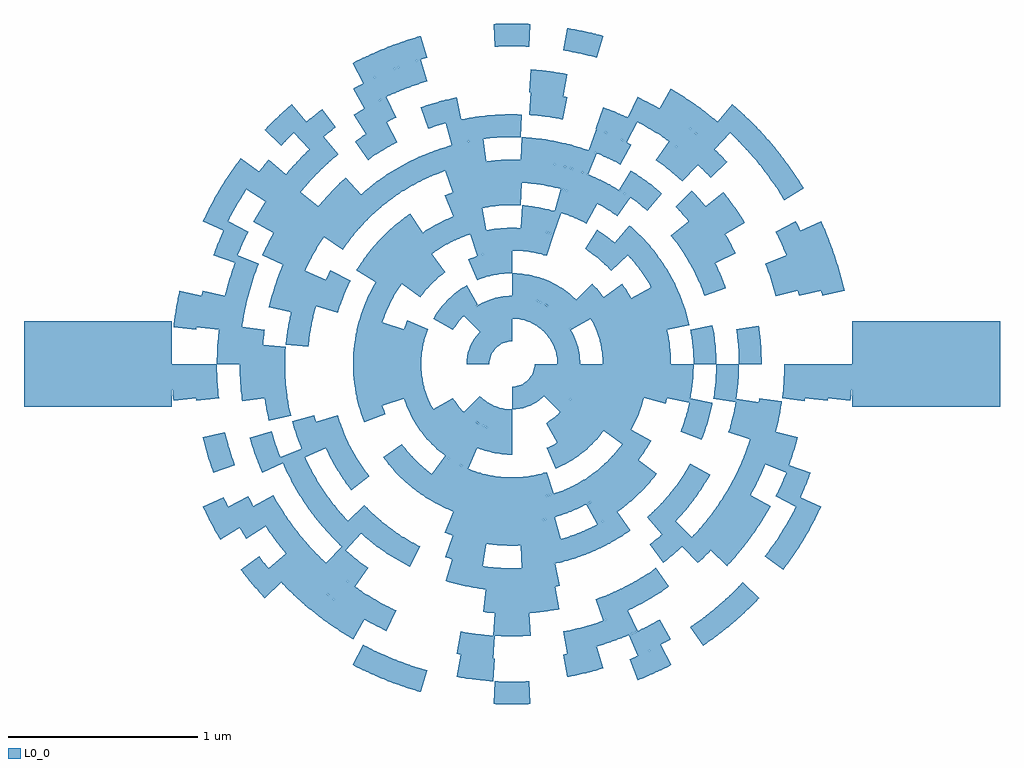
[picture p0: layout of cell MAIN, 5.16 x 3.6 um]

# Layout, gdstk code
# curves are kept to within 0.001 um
import gdstk
lib = gdstk.Library(unit=1e-6, precision=1e-09)
def R(c, l, rs):  # rectangles x0, y0, x1, y1
    for r in rs: c.add(gdstk.rectangle(r[:2], r[2:], *l))
def P(c, l, *ps):  # polygons
    for p in ps: c.add(gdstk.Polygon(p, *l))
L0_0 = (0, 0)

main = lib.new_cell('MAIN')
R(main, L0_0, [(-2.58,-0.225,-1.8,0.225), (1.8,-0.225,2.58,0.225)])
P(main, L0_0, [(0,0.24),(-0.04,0.237),(-0.078,0.227),(-0.114,0.211),(-0.131,0.201),(-0.163,0.177),(-0.177,0.163),(-0.201,0.131),(-0.22,0.096),(-0.233,0.059),(-0.237,0.04),(-0.24,0),(-0.12,0),(-0.118,0.02),(-0.11,0.048),(-0.106,0.057),(-0.095,0.074),(-0.074,0.095),(-0.057,0.106),(-0.029,0.116),(-0.01,0.12),(0,0.12)],
  [(0,-0.24),(0.04,-0.237),(0.078,-0.227),(0.114,-0.211),(0.131,-0.201),(0.163,-0.177),(0.177,-0.163),(0.201,-0.131),(0.22,-0.096),(0.233,-0.059),(0.237,-0.04),(0.24,0),(0.12,0),(0.118,-0.02),(0.11,-0.048),(0.106,-0.057),(0.095,-0.074),(0.074,-0.095),(0.057,-0.106),(0.029,-0.116),(0.01,-0.12),(0,-0.12)],
  [(0.36,0),(0.359,0.03),(0.352,0.074),(0.345,0.103),(0.33,0.145),(0.317,0.171),(0.293,0.209),(0.275,0.233),(0.255,0.255),(0.17,0.17),(0.177,0.163),(0.201,0.131),(0.216,0.105),(0.224,0.087),(0.233,0.059),(0.237,0.04),(0.24,0)],
  [(0.255,0.255),(0.233,0.275),(0.209,0.293),(0.171,0.317),(0.145,0.33),(0.103,0.345),(0.074,0.352),(0.03,0.359),(0,0.36),(0,0.24),(0.04,0.237),(0.059,0.233),(0.087,0.224),(0.105,0.216),(0.131,0.201),(0.163,0.177),(0.17,0.17)],
  [(0,0.36),(-0.03,0.359),(-0.074,0.352),(-0.103,0.345),(-0.145,0.33),(-0.171,0.317),(-0.209,0.293),(-0.233,0.275),(-0.255,0.255),(-0.17,0.17),(-0.163,0.177),(-0.131,0.201),(-0.105,0.216),(-0.087,0.224),(-0.059,0.233),(-0.04,0.237),(0,0.24)],
  [(-0.255,-0.255),(-0.233,-0.275),(-0.209,-0.293),(-0.171,-0.317),(-0.145,-0.33),(-0.103,-0.345),(-0.074,-0.352),(-0.03,-0.359),(0,-0.36),(0,-0.24),(-0.04,-0.237),(-0.059,-0.233),(-0.087,-0.224),(-0.105,-0.216),(-0.131,-0.201),(-0.163,-0.177),(-0.17,-0.17)],
  [(0.255,-0.255),(0.275,-0.233),(0.293,-0.209),(0.317,-0.171),(0.33,-0.145),(0.345,-0.103),(0.352,-0.074),(0.359,-0.03),(0.36,0),(0.24,0),(0.237,-0.04),(0.233,-0.059),(0.224,-0.087),(0.216,-0.105),(0.201,-0.131),(0.177,-0.163),(0.17,-0.17)],
  [(0.416,0.24),(0.402,0.263),(0.379,0.295),(0.344,0.335),(0.295,0.379),(0.263,0.402),(0.24,0.416),(0.18,0.312),(0.205,0.296),(0.244,0.265),(0.278,0.229),(0.296,0.205),(0.312,0.18)],
  [(0.24,0.416),(0.193,0.44),(0.168,0.45),(0.131,0.462),(0.092,0.471),(0.053,0.477),(0,0.48),(0,0.36),(0.049,0.357),(0.107,0.344),(0.145,0.33),(0.18,0.312)],
  [(-0.24,0.416),(-0.263,0.402),(-0.295,0.379),(-0.335,0.344),(-0.379,0.295),(-0.402,0.263),(-0.416,0.24),(-0.312,0.18),(-0.296,0.205),(-0.265,0.244),(-0.229,0.278),(-0.205,0.296),(-0.18,0.312)],
  [(-0.416,-0.24),(-0.402,-0.263),(-0.379,-0.295),(-0.344,-0.335),(-0.295,-0.379),(-0.263,-0.402),(-0.24,-0.416),(-0.18,-0.312),(-0.205,-0.296),(-0.244,-0.265),(-0.278,-0.229),(-0.296,-0.205),(-0.312,-0.18)],
  [(-0.24,-0.416),(-0.193,-0.44),(-0.168,-0.45),(-0.131,-0.462),(-0.092,-0.471),(-0.053,-0.477),(0,-0.48),(0,-0.36),(-0.049,-0.357),(-0.107,-0.344),(-0.145,-0.33),(-0.18,-0.312)],
  [(0.24,-0.416),(0.263,-0.402),(0.295,-0.379),(0.335,-0.344),(0.379,-0.295),(0.402,-0.263),(0.416,-0.24),(0.312,-0.18),(0.296,-0.205),(0.265,-0.244),(0.229,-0.278),(0.205,-0.296),(0.18,-0.312)],
  [(0.416,-0.24),(0.44,-0.193),(0.45,-0.168),(0.462,-0.131),(0.471,-0.092),(0.477,-0.053),(0.48,0),(0.36,0),(0.357,-0.049),(0.344,-0.107),(0.33,-0.145),(0.312,-0.18)],
  [(0.6,0),(0.597,0.062),(0.59,0.111),(0.575,0.171),(0.554,0.23),(0.443,0.184),(0.454,0.156),(0.47,0.099),(0.477,0.05),(0.48,0.02),(0.48,0)],
  [(0.554,0.23),(0.528,0.286),(0.509,0.318),(0.481,0.359),(0.458,0.388),(0.424,0.424),(0.339,0.339),(0.373,0.303),(0.402,0.263),(0.427,0.22),(0.443,0.184)],
  [(0,0.6),(-0.062,0.597),(-0.111,0.59),(-0.171,0.575),(-0.23,0.554),(-0.184,0.443),(-0.156,0.454),(-0.099,0.47),(-0.05,0.477),(-0.02,0.48),(0,0.48)],
  [(-0.554,0.23),(-0.575,0.171),(-0.59,0.111),(-0.597,0.062),(-0.6,0),(-0.48,0),(-0.48,0.02),(-0.477,0.05),(-0.47,0.099),(-0.454,0.156),(-0.443,0.184)],
  [(-0.6,0),(-0.597,-0.062),(-0.59,-0.111),(-0.575,-0.171),(-0.554,-0.23),(-0.443,-0.184),(-0.454,-0.156),(-0.47,-0.099),(-0.477,-0.05),(-0.48,-0.02),(-0.48,0)],
  [(-0.554,-0.23),(-0.528,-0.286),(-0.509,-0.318),(-0.481,-0.359),(-0.458,-0.388),(-0.424,-0.424),(-0.339,-0.339),(-0.373,-0.303),(-0.402,-0.263),(-0.427,-0.22),(-0.443,-0.184)],
  [(-0.424,-0.424),(-0.388,-0.458),(-0.359,-0.481),(-0.318,-0.509),(-0.286,-0.528),(-0.23,-0.554),(-0.184,-0.443),(-0.22,-0.427),(-0.263,-0.402),(-0.303,-0.373),(-0.339,-0.339)],
  [(0.23,-0.554),(0.286,-0.528),(0.318,-0.509),(0.359,-0.481),(0.388,-0.458),(0.424,-0.424),(0.339,-0.339),(0.303,-0.373),(0.263,-0.402),(0.22,-0.427),(0.184,-0.443)],
  [(0.424,-0.424),(0.458,-0.388),(0.481,-0.359),(0.509,-0.318),(0.528,-0.286),(0.554,-0.23),(0.443,-0.184),(0.427,-0.22),(0.402,-0.263),(0.373,-0.303),(0.339,-0.339)],
  [(0.554,-0.23),(0.575,-0.171),(0.59,-0.111),(0.597,-0.062),(0.6,0),(0.48,0),(0.48,-0.02),(0.477,-0.05),(0.47,-0.099),(0.454,-0.156),(0.443,-0.184)],
  [(0.72,0),(0.718,0.059),(0.714,0.095),(0.701,0.165),(0.685,0.222),(0.571,0.185),(0.582,0.147),(0.592,0.099),(0.599,0.04),(0.6,0)],
  [(0.685,0.222),(0.669,0.267),(0.639,0.332),(0.603,0.394),(0.582,0.423),(0.485,0.353),(0.508,0.32),(0.528,0.286),(0.557,0.223),(0.571,0.185)],
  [(0.222,0.685),(0.165,0.701),(0.095,0.714),(0.059,0.718),(0,0.72),(0,0.6),(0.04,0.599),(0.099,0.592),(0.147,0.582),(0.185,0.571)],
  [(0,0.72),(-0.059,0.718),(-0.095,0.714),(-0.165,0.701),(-0.222,0.685),(-0.185,0.571),(-0.147,0.582),(-0.099,0.592),(-0.04,0.599),(0,0.6)],
  [(-0.423,0.582),(-0.452,0.561),(-0.488,0.53),(-0.53,0.488),(-0.546,0.47),(-0.582,0.423),(-0.485,0.353),(-0.455,0.392),(-0.435,0.414),(-0.392,0.455),(-0.353,0.485)],
  [(-0.685,0.222),(-0.701,0.165),(-0.714,0.095),(-0.718,0.059),(-0.72,0),(-0.6,0),(-0.599,0.04),(-0.592,0.099),(-0.582,0.147),(-0.571,0.185)],
  [(-0.72,0),(-0.718,-0.059),(-0.714,-0.095),(-0.701,-0.165),(-0.685,-0.222),(-0.571,-0.185),(-0.582,-0.147),(-0.592,-0.099),(-0.599,-0.04),(-0.6,0)],
  [(-0.423,-0.582),(-0.394,-0.603),(-0.332,-0.639),(-0.267,-0.669),(-0.222,-0.685),(-0.185,-0.571),(-0.223,-0.557),(-0.286,-0.528),(-0.32,-0.508),(-0.353,-0.485)],
  [(-0.222,-0.685),(-0.165,-0.701),(-0.095,-0.714),(-0.059,-0.718),(0,-0.72),(0,-0.6),(-0.04,-0.599),(-0.099,-0.592),(-0.147,-0.582),(-0.185,-0.571)],
  [(0,-0.72),(0.059,-0.718),(0.095,-0.714),(0.165,-0.701),(0.222,-0.685),(0.185,-0.571),(0.147,-0.582),(0.099,-0.592),(0.04,-0.599),(0,-0.6)],
  [(0.582,-0.423),(0.603,-0.394),(0.639,-0.332),(0.669,-0.267),(0.685,-0.222),(0.571,-0.185),(0.557,-0.223),(0.528,-0.286),(0.508,-0.32),(0.485,-0.353)],
  [(0.685,-0.222),(0.701,-0.165),(0.714,-0.095),(0.718,-0.059),(0.72,0),(0.6,0),(0.599,-0.04),(0.592,-0.099),(0.582,-0.147),(0.571,-0.185)],
  [(0.84,0),(0.839,0.044),(0.833,0.111),(0.824,0.166),(0.814,0.209),(0.697,0.179),(0.708,0.133),(0.714,0.095),(0.718,0.057),(0.72,0)],
  [(0.814,0.209),(0.791,0.283),(0.775,0.325),(0.752,0.375),(0.736,0.405),(0.631,0.347),(0.644,0.322),(0.675,0.252),(0.69,0.207),(0.697,0.179)],
  [(0.612,0.575),(0.581,0.607),(0.54,0.644),(0.514,0.665),(0.478,0.691),(0.45,0.709),(0.386,0.608),(0.417,0.587),(0.463,0.552),(0.512,0.507),(0.525,0.493)],
  [(0.26,0.799),(0.228,0.809),(0.174,0.822),(0.119,0.832),(0.053,0.838),(0.045,0.719),(0.121,0.71),(0.186,0.696),(0.222,0.685)],
  [(-0.157,0.825),(-0.201,0.816),(-0.254,0.801),(-0.307,0.782),(-0.358,0.76),(-0.307,0.651),(-0.254,0.674),(-0.2,0.692),(-0.135,0.707)],
  [(-0.358,0.76),(-0.407,0.735),(-0.455,0.706),(-0.5,0.675),(-0.535,0.647),(-0.459,0.555),(-0.437,0.573),(-0.406,0.595),(-0.349,0.63),(-0.307,0.651)],
  [(-0.535,0.647),(-0.569,0.618),(-0.609,0.579),(-0.653,0.529),(-0.68,0.494),(-0.582,0.423),(-0.553,0.461),(-0.522,0.496),(-0.488,0.53),(-0.459,0.555)],
  [(-0.68,0.494),(-0.711,0.448),(-0.739,0.4),(-0.764,0.35),(-0.781,0.309),(-0.669,0.265),(-0.65,0.309),(-0.629,0.351),(-0.599,0.4),(-0.582,0.423)],
  [(-0.781,0.309),(-0.8,0.257),(-0.818,0.193),(-0.829,0.138),(-0.833,0.105),(-0.714,0.09),(-0.709,0.128),(-0.699,0.174),(-0.683,0.229),(-0.669,0.265)],
  [(-0.833,0.105),(-0.84,0.028),(-0.839,-0.05),(-0.833,-0.105),(-0.714,-0.09),(-0.72,-0.024),(-0.72,0.024),(-0.714,0.09)],
  [(-0.833,-0.105),(-0.829,-0.138),(-0.818,-0.193),(-0.8,-0.257),(-0.781,-0.309),(-0.669,-0.265),(-0.683,-0.229),(-0.699,-0.174),(-0.709,-0.128),(-0.714,-0.09)],
  [(-0.68,-0.494),(-0.653,-0.529),(-0.609,-0.579),(-0.569,-0.618),(-0.535,-0.647),(-0.459,-0.555),(-0.488,-0.53),(-0.522,-0.496),(-0.553,-0.461),(-0.582,-0.423)],
  [(-0.535,-0.647),(-0.5,-0.675),(-0.455,-0.706),(-0.407,-0.735),(-0.358,-0.76),(-0.307,-0.651),(-0.349,-0.63),(-0.406,-0.595),(-0.437,-0.573),(-0.459,-0.555)],
  [(-0.358,-0.76),(-0.307,-0.782),(-0.254,-0.801),(-0.201,-0.816),(-0.157,-0.825),(-0.135,-0.707),(-0.2,-0.692),(-0.254,-0.674),(-0.307,-0.651)],
  [(-0.157,-0.825),(-0.103,-0.834),(-0.047,-0.839),(0.019,-0.84),(0.053,-0.838),(0.045,-0.719),(-0.021,-0.72),(-0.059,-0.718),(-0.116,-0.711),(-0.135,-0.707)],
  [(0.053,-0.838),(0.119,-0.832),(0.174,-0.822),(0.228,-0.809),(0.26,-0.799),(0.222,-0.685),(0.186,-0.696),(0.121,-0.71),(0.045,-0.719)],
  [(0.26,-0.799),(0.312,-0.78),(0.363,-0.758),(0.422,-0.727),(0.45,-0.709),(0.386,-0.608),(0.336,-0.637),(0.294,-0.657),(0.267,-0.669),(0.222,-0.685)],
  [(0.45,-0.709),(0.478,-0.691),(0.514,-0.665),(0.54,-0.644),(0.581,-0.607),(0.612,-0.575),(0.525,-0.493),(0.512,-0.507),(0.463,-0.552),(0.417,-0.587),(0.386,-0.608)],
  [(0.612,-0.575),(0.642,-0.542),(0.67,-0.507),(0.702,-0.462),(0.736,-0.405),(0.631,-0.347),(0.617,-0.372),(0.591,-0.412),(0.562,-0.45),(0.525,-0.493)],
  [(0.814,-0.209),(0.824,-0.166),(0.833,-0.111),(0.839,-0.044),(0.84,0),(0.72,0),(0.718,-0.057),(0.714,-0.095),(0.708,-0.133),(0.697,-0.179)],
  [(0.938,0.206),(0.933,0.228),(0.908,0.312),(0.885,0.373),(0.871,0.403),(0.762,0.353),(0.778,0.318),(0.798,0.264),(0.814,0.209),(0.82,0.181)],
  [(0.871,0.403),(0.842,0.462),(0.82,0.5),(0.79,0.546),(0.764,0.581),(0.669,0.508),(0.697,0.469),(0.727,0.421),(0.75,0.379),(0.762,0.353)],
  [(0.764,0.581),(0.73,0.624),(0.686,0.672),(0.654,0.703),(0.621,0.732),(0.544,0.64),(0.607,0.581),(0.639,0.546),(0.669,0.508)],
  [(0.45,0.848),(0.411,0.868),(0.371,0.886),(0.33,0.902),(0.257,0.925),(0.225,0.809),(0.298,0.786),(0.351,0.763),(0.393,0.742)],
  [(0.052,0.959),(-0.025,0.96),(-0.068,0.958),(-0.134,0.951),(-0.155,0.947),(-0.136,0.829),(-0.06,0.838),(-0.022,0.84),(0.045,0.839)],
  [(-0.155,0.947),(-0.177,0.944),(-0.22,0.935),(-0.262,0.924),(-0.304,0.911),(-0.355,0.892),(-0.311,0.78),(-0.284,0.791),(-0.22,0.811),(-0.174,0.822),(-0.136,0.829)],
  [(-0.539,0.795),(-0.583,0.763),(-0.626,0.728),(-0.674,0.684),(-0.697,0.66),(-0.61,0.578),(-0.555,0.631),(-0.503,0.673),(-0.471,0.695)],
  [(-0.697,0.66),(-0.726,0.628),(-0.768,0.577),(-0.823,0.495),(-0.72,0.433),(-0.672,0.505),(-0.648,0.535),(-0.61,0.578)],
  [(-0.355,-0.892),(-0.304,-0.911),(-0.262,-0.924),(-0.22,-0.935),(-0.177,-0.944),(-0.155,-0.947),(-0.136,-0.829),(-0.174,-0.822),(-0.22,-0.811),(-0.284,-0.791),(-0.311,-0.78)],
  [(-0.155,-0.947),(-0.134,-0.951),(-0.068,-0.958),(-0.025,-0.96),(0.052,-0.959),(0.045,-0.839),(-0.022,-0.84),(-0.06,-0.838),(-0.136,-0.829)],
  [(0.052,-0.959),(0.117,-0.953),(0.171,-0.945),(0.236,-0.931),(0.257,-0.925),(0.225,-0.809),(0.197,-0.817),(0.131,-0.83),(0.065,-0.838),(0.045,-0.839)],
  [(0.45,-0.848),(0.488,-0.827),(0.534,-0.798),(0.579,-0.766),(0.621,-0.732),(0.544,-0.64),(0.499,-0.676),(0.475,-0.693),(0.435,-0.719),(0.393,-0.742)],
  [(0.621,-0.732),(0.654,-0.703),(0.686,-0.672),(0.73,-0.624),(0.764,-0.581),(0.669,-0.508),(0.639,-0.546),(0.607,-0.581),(0.544,-0.64)],
  [(0.938,-0.206),(0.948,-0.153),(0.954,-0.109),(0.958,-0.066),(0.96,0),(0.84,0),(0.84,-0.029),(0.835,-0.096),(0.828,-0.143),(0.82,-0.181)],
  [(1.08,0),(1.079,0.054),(1.075,0.108),(1.068,0.162),(1.06,0.204),(0.943,0.182),(0.951,0.134),(0.958,0.067),(0.96,0)],
  [(0.626,0.88),(0.582,0.91),(0.545,0.933),(0.488,0.964),(0.449,0.982),(0.399,0.873),(0.451,0.848),(0.476,0.834),(0.525,0.804),(0.557,0.782)],
  [(0.449,0.982),(0.409,1),(0.358,1.019),(0.296,1.039),(0.255,1.05),(0.226,0.933),(0.282,0.918),(0.319,0.906),(0.363,0.889),(0.399,0.873)],
  [(0.255,1.05),(0.17,1.067),(0.127,1.073),(0.051,1.079),(0.046,0.959),(0.141,0.95),(0.226,0.933)],
  [(0.051,1.079),(-0.057,1.079),(-0.154,1.069),(-0.137,0.95),(-0.118,0.953),(-0.05,0.959),(0.046,0.959)],
  [(-0.154,1.069),(-0.218,1.058),(-0.27,1.046),(-0.353,1.021),(-0.314,0.907),(-0.268,0.922),(-0.231,0.932),(-0.165,0.946),(-0.137,0.95)],
  [(-0.96,0.495),(-0.984,0.446),(-1.009,0.386),(-1.027,0.335),(-1.036,0.304),(-0.921,0.27),(-0.91,0.307),(-0.886,0.37),(-0.853,0.44)],
  [(-1.036,-0.304),(-1.027,-0.335),(-1.009,-0.386),(-0.984,-0.446),(-0.96,-0.495),(-0.853,-0.44),(-0.886,-0.37),(-0.91,-0.307),(-0.921,-0.27)],
  [(-0.96,-0.495),(-0.945,-0.524),(-0.906,-0.588),(-0.869,-0.642),(-0.849,-0.668),(-0.755,-0.593),(-0.8,-0.531),(-0.835,-0.474),(-0.853,-0.44)],
  [(-0.353,-1.021),(-0.27,-1.046),(-0.218,-1.058),(-0.154,-1.069),(-0.137,-0.95),(-0.165,-0.946),(-0.231,-0.932),(-0.268,-0.922),(-0.314,-0.907)],
  [(0.051,-1.079),(0.127,-1.073),(0.17,-1.067),(0.255,-1.05),(0.226,-0.933),(0.141,-0.95),(0.046,-0.959)],
  [(0.255,-1.05),(0.296,-1.039),(0.358,-1.019),(0.409,-1),(0.449,-0.982),(0.399,-0.873),(0.363,-0.889),(0.319,-0.906),(0.282,-0.918),(0.226,-0.933)],
  [(0.449,-0.982),(0.488,-0.964),(0.545,-0.933),(0.582,-0.91),(0.626,-0.88),(0.557,-0.782),(0.525,-0.804),(0.476,-0.834),(0.451,-0.848),(0.399,-0.873)],
  [(1.003,-0.401),(1.032,-0.32),(1.041,-0.289),(1.054,-0.236),(1.06,-0.204),(0.943,-0.182),(0.935,-0.219),(0.92,-0.275),(0.902,-0.33),(0.891,-0.357)],
  [(1.131,0.4),(1.096,0.489),(1.073,0.538),(1.048,0.585),(0.943,0.527),(0.974,0.467),(0.99,0.432),(1.018,0.36)],
  [(1.048,0.585),(1.015,0.641),(0.997,0.668),(0.954,0.729),(0.934,0.754),(0.84,0.678),(0.887,0.617),(0.943,0.527)],
  [(0.793,0.901),(0.718,0.962),(0.683,0.987),(0.629,1.022),(0.566,0.92),(0.631,0.877),(0.677,0.842),(0.714,0.811)],
  [(0.447,1.113),(0.367,1.143),(0.305,1.161),(0.253,1.173),(0.228,1.056),(0.274,1.045),(0.312,1.034),(0.376,1.013),(0.403,1.002)],
  [(0.253,1.173),(0.158,1.19),(0.051,1.199),(0.046,1.079),(0.084,1.077),(0.142,1.071),(0.228,1.056)],
  [(-0.152,1.19),(-0.184,1.186),(-0.269,1.17),(-0.351,1.147),(-0.316,1.033),(-0.242,1.053),(-0.175,1.066),(-0.137,1.071)],
  [(-0.351,1.147),(-0.402,1.131),(-0.492,1.095),(-0.54,1.072),(-0.486,0.964),(-0.478,0.969),(-0.416,0.997),(-0.362,1.018),(-0.316,1.033)],
  [(-0.54,1.072),(-0.625,1.025),(-0.679,0.99),(-0.714,0.965),(-0.642,0.868),(-0.627,0.88),(-0.579,0.912),(-0.529,0.942),(-0.486,0.964)],
  [(-0.714,0.965),(-0.748,0.939),(-0.821,0.876),(-0.866,0.83),(-0.78,0.747),(-0.753,0.775),(-0.717,0.808),(-0.688,0.833),(-0.642,0.868)],
  [(-0.866,0.83),(-0.874,0.823),(-0.917,0.775),(-0.97,0.707),(-0.994,0.672),(-0.895,0.605),(-0.855,0.66),(-0.831,0.69),(-0.78,0.747)],
  [(-1.093,0.494),(-1.102,0.475),(-1.13,0.405),(-1.147,0.354),(-1.161,0.302),(-1.045,0.272),(-1.032,0.319),(-1.017,0.364),(-0.984,0.445)],
  [(-1.161,0.302),(-1.174,0.25),(-1.184,0.198),(-1.196,0.102),(-1.076,0.092),(-1.07,0.149),(-1.064,0.187),(-1.045,0.272)],
  [(-1.161,-0.302),(-1.147,-0.354),(-1.13,-0.405),(-1.102,-0.475),(-1.093,-0.494),(-0.984,-0.445),(-1.017,-0.364),(-1.032,-0.319),(-1.045,-0.272)],
  [(-0.866,-0.83),(-0.821,-0.876),(-0.748,-0.939),(-0.714,-0.965),(-0.642,-0.868),(-0.658,-0.857),(-0.717,-0.808),(-0.753,-0.775),(-0.78,-0.747)],
  [(-0.714,-0.965),(-0.679,-0.99),(-0.625,-1.025),(-0.54,-1.072),(-0.486,-0.964),(-0.529,-0.942),(-0.579,-0.912),(-0.627,-0.88),(-0.642,-0.868)],
  [(-0.351,-1.147),(-0.269,-1.17),(-0.184,-1.186),(-0.152,-1.19),(-0.137,-1.071),(-0.175,-1.066),(-0.242,-1.053),(-0.316,-1.033)],
  [(-0.152,-1.19),(-0.142,-1.192),(-0.056,-1.199),(0.051,-1.199),(0.046,-1.079),(-0.031,-1.08),(-0.108,-1.075),(-0.137,-1.071)],
  [(0.051,-1.199),(0.158,-1.19),(0.253,-1.173),(0.228,-1.056),(0.142,-1.071),(0.084,-1.077),(0.046,-1.079)],
  [(0.793,-0.901),(0.825,-0.872),(0.863,-0.834),(0.885,-0.811),(0.934,-0.754),(0.84,-0.678),(0.822,-0.701),(0.79,-0.737),(0.763,-0.765),(0.714,-0.811)],
  [(0.934,-0.754),(0.954,-0.729),(0.997,-0.668),(1.015,-0.641),(1.048,-0.585),(0.943,-0.527),(0.887,-0.617),(0.84,-0.678)],
  [(1.183,-0.203),(1.191,-0.15),(1.198,-0.075),(1.2,0),(1.08,0),(1.077,-0.087),(1.072,-0.135),(1.064,-0.183)],
  [(1.32,0),(1.317,0.096),(1.312,0.149),(1.305,0.201),(1.186,0.183),(1.198,0.077),(1.2,0)],
  [(1.183,0.586),(1.143,0.661),(1.104,0.724),(1.08,0.759),(0.982,0.69),(1.009,0.65),(1.039,0.601),(1.067,0.55),(1.075,0.532)],
  [(1.08,0.759),(1.055,0.794),(1.022,0.836),(0.966,0.9),(0.951,0.915),(0.865,0.832),(0.929,0.76),(0.982,0.69)],
  [(0.631,1.16),(0.535,1.207),(0.446,1.242),(0.406,1.129),(0.478,1.101),(0.522,1.081),(0.573,1.054)],
  [(0.051,1.319),(-0.035,1.32),(-0.12,1.315),(-0.151,1.311),(-0.138,1.192),(-0.089,1.197),(-0.031,1.2),(0.046,1.199)],
  [(-0.151,1.311),(-0.194,1.306),(-0.257,1.295),(-0.35,1.273),(-0.318,1.157),(-0.28,1.167),(-0.214,1.181),(-0.138,1.192)],
  [(-0.878,0.985),(-0.91,0.957),(-0.94,0.927),(-0.977,0.888),(-1.018,0.84),(-0.926,0.763),(-0.875,0.822),(-0.827,0.87),(-0.798,0.896)],
  [(-1.018,0.84),(-1.045,0.807),(-1.077,0.764),(-1.107,0.72),(-1.135,0.675),(-1.031,0.613),(-1.027,0.622),(-0.979,0.694),(-0.956,0.726),(-0.926,0.763)],
  [(-1.135,0.675),(-1.156,0.638),(-1.195,0.562),(-1.224,0.493),(-1.113,0.449),(-1.078,0.528),(-1.051,0.58),(-1.031,0.613)],
  [(-1.224,0.493),(-1.24,0.454),(-1.254,0.413),(-1.278,0.332),(-1.285,0.301),(-1.168,0.273),(-1.154,0.33),(-1.143,0.367),(-1.124,0.422),(-1.113,0.449)],
  [(-1.316,0.101),(-1.32,0.027),(-1.32,-0.027),(-1.316,-0.101),(-1.196,-0.092),(-1.2,-0.034),(-1.2,0.034),(-1.196,0.092)],
  [(-1.316,-0.101),(-1.31,-0.165),(-1.304,-0.207),(-1.285,-0.301),(-1.168,-0.273),(-1.173,-0.255),(-1.184,-0.198),(-1.191,-0.15),(-1.196,-0.092)],
  [(-1.224,-0.493),(-1.195,-0.562),(-1.156,-0.638),(-1.135,-0.675),(-1.031,-0.613),(-1.051,-0.58),(-1.078,-0.528),(-1.113,-0.449)],
  [(-1.135,-0.675),(-1.107,-0.72),(-1.077,-0.764),(-1.045,-0.807),(-1.018,-0.84),(-0.926,-0.763),(-0.956,-0.726),(-0.979,-0.694),(-1.027,-0.622),(-1.031,-0.613)],
  [(-1.018,-0.84),(-0.977,-0.888),(-0.94,-0.927),(-0.91,-0.957),(-0.878,-0.985),(-0.798,-0.896),(-0.827,-0.87),(-0.875,-0.822),(-0.926,-0.763)],
  [(-0.151,-1.311),(-0.12,-1.315),(-0.035,-1.32),(0.051,-1.319),(0.046,-1.199),(-0.031,-1.2),(-0.089,-1.197),(-0.138,-1.192)],
  [(0.051,-1.319),(0.093,-1.317),(0.157,-1.311),(0.22,-1.302),(0.251,-1.296),(0.228,-1.178),(0.142,-1.192),(0.075,-1.198),(0.046,-1.199)],
  [(0.8,-1.05),(0.842,-1.017),(0.898,-0.968),(0.951,-0.915),(0.865,-0.832),(0.802,-0.893),(0.773,-0.918),(0.727,-0.954)],
  [(1.258,-0.398),(1.268,-0.368),(1.282,-0.316),(1.305,-0.201),(1.186,-0.183),(1.17,-0.269),(1.153,-0.334),(1.144,-0.362)],
  [(1.23,0.748),(1.197,0.801),(1.155,0.86),(1.117,0.909),(1.024,0.833),(1.042,0.811),(1.087,0.75),(1.128,0.686)],
  [(0.983,1.052),(0.929,1.101),(0.897,1.127),(0.83,1.176),(0.761,1.078),(0.807,1.045),(0.837,1.021),(0.901,0.965)],
  [(0.662,1.279),(0.588,1.315),(0.531,1.339),(0.482,1.357),(0.442,1.244),(0.522,1.213),(0.607,1.172)],
  [(0.293,1.41),(0.252,1.418),(0.181,1.429),(0.098,1.437),(0.09,1.317),(0.166,1.31),(0.231,1.3),(0.269,1.292)],
  [(-0.293,1.41),(-0.374,1.391),(-0.482,1.357),(-0.442,1.244),(-0.361,1.27),(-0.324,1.28),(-0.269,1.292)],
  [(-0.662,1.279),(-0.753,1.228),(-0.788,1.206),(-0.83,1.176),(-0.761,1.078),(-0.738,1.095),(-0.674,1.135),(-0.607,1.172)],
  [(-1.117,0.909),(-1.155,0.86),(-1.197,0.801),(-1.23,0.748),(-1.128,0.686),(-1.087,0.75),(-1.042,0.811),(-1.024,0.833)],
  [(-1.23,0.748),(-1.251,0.713),(-1.286,0.649),(-1.321,0.574),(-1.211,0.526),(-1.183,0.586),(-1.152,0.645),(-1.128,0.686)],
  [(-1.427,0.196),(-1.433,0.145),(-1.438,0.083),(-1.44,0),(-1.32,0),(-1.317,0.095),(-1.308,0.18)],
  [(-1.44,0),(-1.438,-0.083),(-1.433,-0.145),(-1.427,-0.196),(-1.308,-0.18),(-1.317,-0.095),(-1.32,0)],
  [(-1.387,-0.389),(-1.369,-0.448),(-1.352,-0.497),(-1.321,-0.574),(-1.211,-0.526),(-1.252,-0.42),(-1.271,-0.356)],
  [(-0.983,-1.052),(-0.929,-1.101),(-0.897,-1.127),(-0.83,-1.176),(-0.761,-1.078),(-0.807,-1.045),(-0.837,-1.021),(-0.901,-0.965)],
  [(-0.098,-1.437),(-0.036,-1.44),(0.036,-1.44),(0.098,-1.437),(0.09,-1.317),(0.033,-1.32),(-0.033,-1.32),(-0.09,-1.317)],
  [(0.482,-1.357),(0.531,-1.339),(0.588,-1.315),(0.662,-1.279),(0.607,-1.172),(0.522,-1.213),(0.442,-1.244)],
  [(0.662,-1.279),(0.753,-1.228),(0.788,-1.206),(0.83,-1.176),(0.761,-1.078),(0.738,-1.095),(0.674,-1.135),(0.607,-1.172)],
  [(0.983,-1.052),(1.035,-1.002),(1.07,-0.964),(1.117,-0.909),(1.024,-0.833),(0.974,-0.891),(0.942,-0.925),(0.901,-0.965)],
  [(1.117,-0.909),(1.155,-0.86),(1.197,-0.801),(1.23,-0.748),(1.128,-0.686),(1.087,-0.75),(1.042,-0.811),(1.024,-0.833)],
  [(1.23,-0.748),(1.251,-0.713),(1.286,-0.649),(1.321,-0.574),(1.211,-0.526),(1.183,-0.586),(1.152,-0.645),(1.128,-0.686)],
  [(1.321,-0.574),(1.352,-0.497),(1.369,-0.448),(1.387,-0.389),(1.271,-0.356),(1.252,-0.42),(1.211,-0.526)],
  [(1.387,-0.389),(1.407,-0.308),(1.419,-0.247),(1.427,-0.196),(1.308,-0.18),(1.299,-0.236),(1.281,-0.319),(1.271,-0.356)],
  [(1.511,0.388),(1.479,0.497),(1.462,0.545),(1.45,0.574),(1.339,0.53),(1.368,0.45),(1.395,0.358)],
  [(1.137,1.068),(1.109,1.098),(1.072,1.134),(0.994,1.202),(0.918,1.11),(0.954,1.079),(1.01,1.027),(1.05,0.986)],
  [(0.994,1.202),(0.938,1.247),(0.879,1.289),(0.836,1.317),(0.772,1.216),(0.843,1.168),(0.918,1.11)],
  [(0.836,1.317),(0.747,1.37),(0.664,1.412),(0.613,1.303),(0.639,1.291),(0.698,1.26),(0.772,1.216)],
  [(0.292,1.532),(0.252,1.54),(0.18,1.55),(0.098,1.557),(0.09,1.437),(0.195,1.427),(0.242,1.42),(0.27,1.414)],
  [(-0.664,1.412),(-0.747,1.37),(-0.836,1.317),(-0.772,1.216),(-0.698,1.26),(-0.639,1.291),(-0.613,1.303)],
  [(-0.994,1.202),(-1.072,1.134),(-1.109,1.098),(-1.137,1.068),(-1.05,0.986),(-1.01,1.027),(-0.954,1.079),(-0.918,1.11)],
  [(-1.137,1.068),(-1.172,1.03),(-1.199,0.998),(-1.244,0.942),(-1.262,0.917),(-1.165,0.846),(-1.119,0.907),(-1.082,0.951),(-1.05,0.986)],
  [(-1.262,0.917),(-1.292,0.875),(-1.32,0.832),(-1.367,0.752),(-1.262,0.694),(-1.198,0.8),(-1.165,0.846)],
  [(-1.45,0.574),(-1.462,0.545),(-1.479,0.497),(-1.511,0.388),(-1.395,0.358),(-1.368,0.45),(-1.339,0.53)],
  [(-1.511,0.388),(-1.521,0.348),(-1.539,0.257),(-1.548,0.196),(-1.429,0.18),(-1.414,0.275),(-1.395,0.358)],
  [(-1.548,0.196),(-1.557,0.103),(-1.56,0),(-1.44,0),(-1.437,0.095),(-1.429,0.18)],
  [(-1.367,-0.752),(-1.32,-0.832),(-1.292,-0.875),(-1.262,-0.917),(-1.165,-0.846),(-1.198,-0.8),(-1.262,-0.694)],
  [(-1.262,-0.917),(-1.244,-0.942),(-1.199,-0.998),(-1.172,-1.03),(-1.137,-1.068),(-1.05,-0.986),(-1.082,-0.951),(-1.119,-0.907),(-1.165,-0.846)],
  [(-1.137,-1.068),(-1.109,-1.098),(-1.072,-1.134),(-0.994,-1.202),(-0.918,-1.11),(-0.954,-1.079),(-1.01,-1.027),(-1.05,-0.986)],
  [(-0.994,-1.202),(-0.938,-1.247),(-0.879,-1.289),(-0.836,-1.317),(-0.772,-1.216),(-0.843,-1.168),(-0.918,-1.11)],
  [(-0.836,-1.317),(-0.747,-1.37),(-0.664,-1.412),(-0.613,-1.303),(-0.639,-1.291),(-0.698,-1.26),(-0.772,-1.216)],
  [(-0.292,-1.532),(-0.252,-1.54),(-0.18,-1.55),(-0.098,-1.557),(-0.09,-1.437),(-0.195,-1.427),(-0.242,-1.42),(-0.27,-1.414)],
  [(0.292,-1.532),(0.353,-1.52),(0.393,-1.51),(0.482,-1.484),(0.445,-1.37),(0.363,-1.394),(0.289,-1.411),(0.27,-1.414)],
  [(0.482,-1.484),(0.579,-1.449),(0.664,-1.412),(0.613,-1.303),(0.57,-1.323),(0.526,-1.341),(0.445,-1.37)],
  [(1.137,-1.068),(1.172,-1.03),(1.199,-0.998),(1.244,-0.942),(1.262,-0.917),(1.165,-0.846),(1.119,-0.907),(1.082,-0.951),(1.05,-0.986)],
  [(1.262,-0.917),(1.292,-0.875),(1.32,-0.832),(1.367,-0.752),(1.262,-0.694),(1.198,-0.8),(1.165,-0.846)],
  [(1.45,-0.574),(1.462,-0.545),(1.479,-0.497),(1.511,-0.388),(1.395,-0.358),(1.368,-0.45),(1.339,-0.53)],
  [(1.548,-0.196),(1.557,-0.103),(1.56,0),(1.44,0),(1.437,-0.095),(1.429,-0.18)],
  [(1.635,0.387),(1.617,0.457),(1.596,0.526),(1.579,0.575),(1.466,0.534),(1.499,0.434),(1.518,0.36)],
  [(1.579,0.575),(1.545,0.661),(1.524,0.708),(1.501,0.754),(1.394,0.7),(1.431,0.622),(1.466,0.534)],
  [(1.153,1.222),(1.084,1.284),(1.003,1.348),(0.932,1.251),(1.014,1.186),(1.071,1.135)],
  [(1.003,1.348),(0.962,1.378),(0.902,1.418),(0.84,1.455),(0.78,1.351),(0.861,1.301),(0.932,1.251)],
  [(-0.482,1.609),(-0.541,1.591),(-0.599,1.57),(-0.665,1.543),(-0.618,1.432),(-0.574,1.451),(-0.529,1.468),(-0.457,1.492),(-0.447,1.494)],
  [(-0.665,1.543),(-0.712,1.522),(-0.777,1.49),(-0.84,1.455),(-0.78,1.351),(-0.713,1.388),(-0.679,1.405),(-0.618,1.432)],
  [(-1.003,1.348),(-1.084,1.284),(-1.153,1.222),(-1.071,1.135),(-1.014,1.186),(-0.932,1.251)],
  [(-1.287,1.08),(-1.357,0.991),(-1.404,0.923),(-1.303,0.857),(-1.277,0.897),(-1.243,0.943),(-1.195,1.003)],
  [(-1.501,0.754),(-1.524,0.708),(-1.545,0.661),(-1.579,0.575),(-1.466,0.534),(-1.431,0.622),(-1.394,0.7)],
  [(-1.635,0.387),(-1.654,0.297),(-1.669,0.195),(-1.549,0.181),(-1.539,0.257),(-1.518,0.36)],
  [(-1.68,0),(-1.677,-0.103),(-1.669,-0.195),(-1.549,-0.181),(-1.553,-0.153),(-1.558,-0.086),(-1.56,0)],
  [(-1.635,-0.387),(-1.617,-0.457),(-1.596,-0.526),(-1.579,-0.575),(-1.466,-0.534),(-1.499,-0.434),(-1.518,-0.36)],
  [(-1.501,-0.754),(-1.463,-0.827),(-1.404,-0.923),(-1.303,-0.857),(-1.349,-0.784),(-1.377,-0.734),(-1.394,-0.7)],
  [(-1.287,-1.08),(-1.233,-1.142),(-1.153,-1.222),(-1.071,-1.135),(-1.125,-1.081),(-1.195,-1.003)],
  [(-1.153,-1.222),(-1.084,-1.284),(-1.003,-1.348),(-0.932,-1.251),(-1.014,-1.186),(-1.071,-1.135)],
  [(-1.003,-1.348),(-0.962,-1.378),(-0.902,-1.418),(-0.84,-1.455),(-0.78,-1.351),(-0.861,-1.301),(-0.932,-1.251)],
  [(-0.292,-1.654),(-0.261,-1.66),(-0.21,-1.667),(-0.098,-1.677),(-0.091,-1.557),(-0.129,-1.555),(-0.195,-1.548),(-0.271,-1.536)],
  [(0.292,-1.654),(0.392,-1.634),(0.482,-1.609),(0.447,-1.494),(0.374,-1.515),(0.271,-1.536)],
  [(0.665,-1.543),(0.712,-1.522),(0.777,-1.49),(0.84,-1.455),(0.78,-1.351),(0.713,-1.388),(0.679,-1.405),(0.618,-1.432)],
  [(1.501,-0.754),(1.524,-0.708),(1.545,-0.661),(1.579,-0.575),(1.466,-0.534),(1.431,-0.622),(1.394,-0.7)],
  [(1.669,-0.195),(1.677,-0.103),(1.68,0),(1.56,0),(1.558,-0.086),(1.553,-0.153),(1.549,-0.181)],
  [(1.758,0.387),(1.736,0.477),(1.706,0.575),(1.592,0.536),(1.607,0.491),(1.623,0.436),(1.641,0.361)],
  [(1.706,0.575),(1.678,0.652),(1.655,0.709),(1.634,0.756),(1.525,0.705),(1.552,0.644),(1.573,0.591),(1.592,0.536)],
  [(1.542,0.928),(1.532,0.946),(1.493,1.006),(1.433,1.089),(1.337,1.017),(1.355,0.994),(1.399,0.931),(1.44,0.866)],
  [(1.433,1.089),(1.382,1.154),(1.307,1.238),(1.22,1.155),(1.29,1.077),(1.337,1.017)],
  [(1.307,1.238),(1.242,1.303),(1.189,1.352),(1.165,1.372),(1.088,1.28),(1.145,1.23),(1.22,1.155)],
  [(0.482,1.734),(0.402,1.755),(0.291,1.776),(0.272,1.658),(0.366,1.64),(0.449,1.619)],
  [(0.097,1.797),(0.036,1.8),(-0.036,1.8),(-0.097,1.797),(-0.091,1.678),(-0.034,1.68),(0.034,1.68),(0.091,1.678)],
  [(-0.482,1.734),(-0.56,1.711),(-0.666,1.672),(-0.622,1.561),(-0.541,1.591),(-0.449,1.619)],
  [(-0.666,1.672),(-0.695,1.661),(-0.751,1.636),(-0.816,1.605),(-0.843,1.59),(-0.787,1.484),(-0.71,1.523),(-0.622,1.561)],
  [(-1.165,1.372),(-1.189,1.352),(-1.242,1.303),(-1.307,1.238),(-1.22,1.155),(-1.145,1.23),(-1.088,1.28)],
  [(-1.433,1.089),(-1.493,1.006),(-1.532,0.946),(-1.542,0.928),(-1.44,0.866),(-1.399,0.931),(-1.355,0.994),(-1.337,1.017)],
  [(-1.542,0.928),(-1.593,0.839),(-1.634,0.756),(-1.525,0.705),(-1.487,0.783),(-1.44,0.866)],
  [(-1.758,0.387),(-1.779,0.276),(-1.789,0.195),(-1.67,0.182),(-1.659,0.267),(-1.641,0.361)],
  [(-1.8,0),(-1.798,-0.092),(-1.793,-0.164),(-1.789,-0.195),(-1.67,-0.182),(-1.677,-0.105),(-1.68,-0.038),(-1.68,0)],
  [(-1.634,-0.756),(-1.593,-0.839),(-1.542,-0.928),(-1.44,-0.866),(-1.487,-0.783),(-1.525,-0.705)],
  [(-1.433,-1.089),(-1.382,-1.154),(-1.307,-1.238),(-1.22,-1.155),(-1.29,-1.077),(-1.337,-1.017)],
  [(-0.843,-1.59),(-0.816,-1.605),(-0.751,-1.636),(-0.695,-1.661),(-0.666,-1.672),(-0.622,-1.561),(-0.71,-1.523),(-0.787,-1.484)],
  [(-0.666,-1.672),(-0.56,-1.711),(-0.482,-1.734),(-0.449,-1.619),(-0.541,-1.591),(-0.622,-1.561)],
  [(-0.097,-1.797),(-0.036,-1.8),(0.036,-1.8),(0.097,-1.797),(0.091,-1.678),(0.034,-1.68),(-0.034,-1.68),(-0.091,-1.678)],
  [(0.666,-1.672),(0.695,-1.661),(0.751,-1.636),(0.816,-1.605),(0.843,-1.59),(0.787,-1.484),(0.71,-1.523),(0.622,-1.561)],
  [(1.01,-1.49),(1.102,-1.424),(1.165,-1.372),(1.088,-1.28),(1.021,-1.335),(0.943,-1.391)],
  [(1.165,-1.372),(1.189,-1.352),(1.242,-1.303),(1.307,-1.238),(1.22,-1.155),(1.145,-1.23),(1.088,-1.28)],
  [(1.433,-1.089),(1.493,-1.006),(1.532,-0.946),(1.542,-0.928),(1.44,-0.866),(1.399,-0.931),(1.355,-0.994),(1.337,-1.017)],
  [(1.542,-0.928),(1.593,-0.839),(1.634,-0.756),(1.525,-0.705),(1.487,-0.783),(1.44,-0.866)],
  [(1.789,-0.195),(1.793,-0.164),(1.798,-0.092),(1.8,0),(1.68,0),(1.68,-0.038),(1.677,-0.105),(1.67,-0.182)])

lib.write_gds('MAIN.gds')
